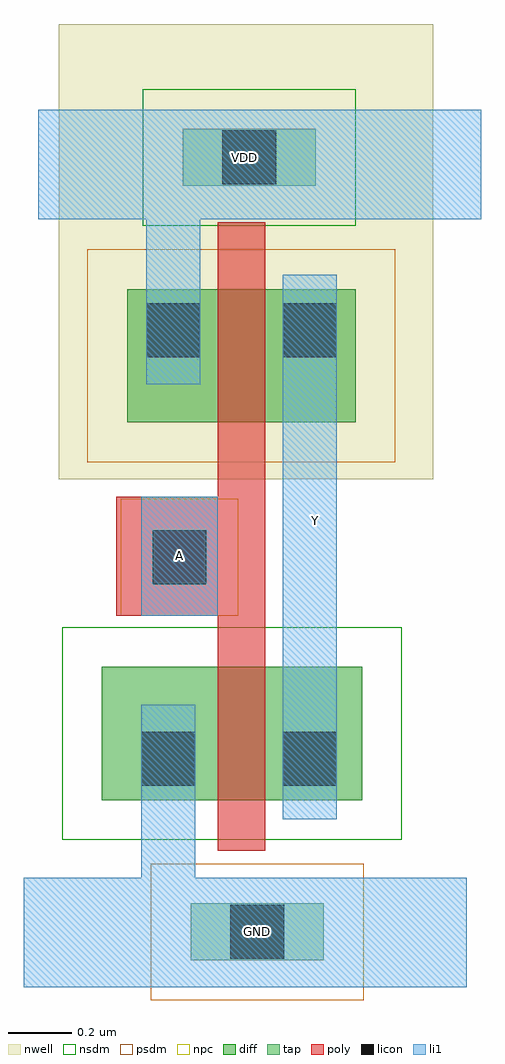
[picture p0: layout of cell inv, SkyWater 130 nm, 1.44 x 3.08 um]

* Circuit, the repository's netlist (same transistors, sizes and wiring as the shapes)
* NGSPICE file created from inv.ext - technology: sky130A

.subckt inv Y A GND VDD
X0 Y A a_n73_n41# a_n73_n41# sky130_fd_pr__nfet_01v8 ad=0.128 pd=1.45 as=0.153 ps=1.57 w=0.42 l=0.15
X1 Y A w_n100_161# w_n100_161# sky130_fd_pr__pfet_01v8 ad=0.12 pd=1.41 as=0.12 ps=1.41 w=0.42 l=0.15
.ends

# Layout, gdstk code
import gdstk
lib = gdstk.Library(unit=1e-6, precision=1e-09)
def R(c, l, rs):  # rectangles x0, y0, x1, y1
    for r in rs: c.add(gdstk.rectangle(r[:2], r[2:], *l))
nwell = (64, 20)
diff = (65, 20)
tap = (65, 44)
poly = (66, 20)
licon = (66, 44)
li1 = (67, 20)
nsdm = (93, 44)
psdm = (94, 20)
npc = (95, 20)

inv = lib.new_cell('inv')
R(inv, nwell, [(-0.5,0.805,0.68,2.24)])
R(inv, diff, [(-0.365,-0.205,0.455,0.215), (-0.285,0.985,0.435,1.405)])
R(inv, tap, [(-0.085,-0.71,0.335,-0.53), (-0.11,1.73,0.31,1.91)])
R(inv, poly, [(0,-0.365,0.15,0.375), (-0.32,0.375,0.15,0.75), (0,0.75,0.15,1.615)])
R(inv, licon, [(0.04,-0.705,0.21,-0.535), (-0.24,-0.16,-0.07,0.01), (0.205,-0.16,0.375,0.01), (-0.205,0.475,-0.035,0.645), (-0.225,1.19,-0.055,1.36), (0.205,1.19,0.375,1.36), (0.015,1.735,0.185,1.905)])
R(inv, li1, [(-0.61,-0.795,0.785,-0.45), (-0.24,-0.45,-0.07,0.095), (0.205,-0.265,0.375,1.45), (-0.24,0.375,0,0.75), (-0.225,1.105,-0.055,1.625), (-0.565,1.625,0.83,1.97)])
R(inv, nsdm, [(-0.49,-0.33,0.58,0.34), (-0.235,1.605,0.435,2.035)])
R(inv, psdm, [(-0.21,-0.835,0.46,-0.405), (-0.41,0.86,0.56,1.53)])
R(inv, npc, [(-0.305,0.375,0.065,0.745)])
inv.add(gdstk.Label('Y', (0.31,0.675), layer=67, texttype=5))
inv.add(gdstk.Label('A', (-0.12,0.565), layer=67, texttype=5))
inv.add(gdstk.Label('GND', (0.125,-0.62), layer=68, texttype=5))
inv.add(gdstk.Label('VDD', (0.085,1.82), layer=68, texttype=5))

lib.write_gds('inv.gds')
